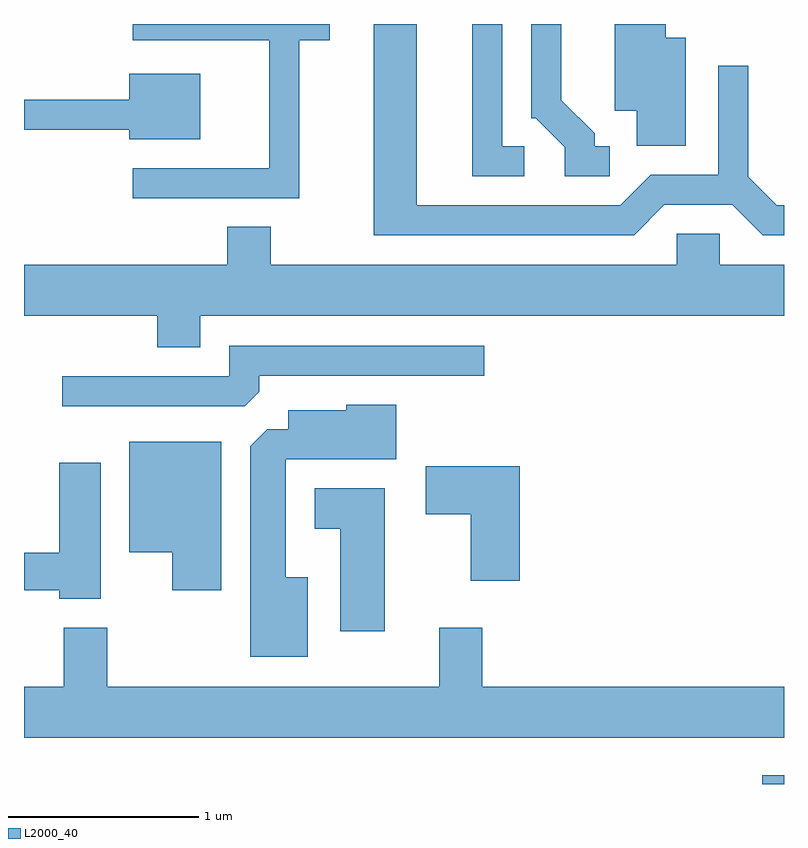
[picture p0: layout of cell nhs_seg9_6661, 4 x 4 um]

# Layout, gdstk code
import gdstk
lib = gdstk.Library(unit=1e-6, precision=1e-09)
def R(c, l, rs):  # rectangles x0, y0, x1, y1
    for r in rs: c.add(gdstk.rectangle(r[:2], r[2:], *l))
def P(c, l, *ps):  # polygons
    for p in ps: c.add(gdstk.Polygon(p, *l))
L2000_40 = (2000, 40)

nhs_seg9_6661 = lib.new_cell('nhs_seg9_6661')
R(nhs_seg9_6661, L2000_40, [(385.496,2020.432,385.611,2020.479)])
P(nhs_seg9_6661, L2000_40, [(385.094,2024.359),(384.989,2024.359),(384.989,2024.432),(384.721,2024.432),(384.721,2023.976),(384.836,2023.976),(384.836,2023.791),(385.094,2023.791)],
  [(384.982,2023.481),(385.339,2023.481),(385.499,2023.321),(385.611,2023.321),(385.611,2023.479),(385.572,2023.479),(385.424,2023.627),(385.424,2024.213),(385.266,2024.213),(385.266,2023.639),(384.909,2023.639),(384.749,2023.479),(383.679,2023.479),(383.679,2024.432),(383.451,2024.432),(383.451,2023.321),(384.822,2023.321)],
  [(384.693,2023.789),(384.614,2023.789),(384.614,2023.857),(384.439,2024.032),(384.439,2024.432),(384.281,2024.432),(384.281,2023.936),(384.304,2023.936),(384.456,2023.784),(384.456,2023.631),(384.693,2023.631)],
  [(384.243,2023.789),(384.129,2023.789),(384.129,2024.432),(383.971,2024.432),(383.971,2023.631),(384.243,2023.631)],
  [(383.059,2024.346),(383.219,2024.346),(383.219,2024.432),(382.183,2024.432),(382.183,2024.346),(382.901,2024.346),(382.901,2023.674),(382.183,2023.674),(382.183,2023.516),(383.059,2023.516)],
  [(382.539,2024.169),(382.166,2024.169),(382.166,2024.034),(381.611,2024.034),(381.611,2023.876),(382.166,2023.876),(382.166,2023.826),(382.539,2023.826)],
  [(382.539,2022.896),(385.611,2022.896),(385.611,2023.164),(385.274,2023.164),(385.274,2023.329),(385.046,2023.329),(385.046,2023.164),(382.909,2023.164),(382.909,2023.364),(382.681,2023.364),(382.681,2023.164),(381.611,2023.164),(381.611,2022.896),(382.311,2022.896),(382.311,2022.731),(382.539,2022.731)],
  [(382.849,2022.497),(382.849,2022.581),(384.033,2022.581),(384.033,2022.739),(382.691,2022.739),(382.691,2022.579),(381.813,2022.579),(381.813,2022.421),(382.774,2022.421)],
  [(383.104,2021.519),(382.989,2021.519),(382.989,2022.141),(383.569,2022.141),(383.569,2022.429),(383.306,2022.429),(383.306,2022.399),(383.001,2022.399),(383.001,2022.299),(382.892,2022.299),(382.801,2022.209),(382.801,2021.101),(383.104,2021.101)],
  [(382.649,2022.234),(382.166,2022.234),(382.166,2021.651),(382.391,2021.651),(382.391,2021.451),(382.649,2021.451)],
  [(382.014,2022.124),(381.796,2022.124),(381.796,2021.649),(381.611,2021.649),(381.611,2021.451),(381.796,2021.451),(381.796,2021.406),(382.014,2021.406)],
  [(384.219,2022.104),(383.726,2022.104),(383.726,2021.851),(383.961,2021.851),(383.961,2021.501),(384.219,2021.501)],
  [(383.509,2021.989),(383.141,2021.989),(383.141,2021.776),(383.276,2021.776),(383.276,2021.236),(383.509,2021.236)],
  [(385.611,2020.944),(384.024,2020.944),(384.024,2021.254),(383.796,2021.254),(383.796,2020.944),(382.049,2020.944),(382.049,2021.254),(381.821,2021.254),(381.821,2020.944),(381.611,2020.944),(381.611,2020.676),(385.611,2020.676)])

lib.write_gds('nhs_seg9_6661.gds')
